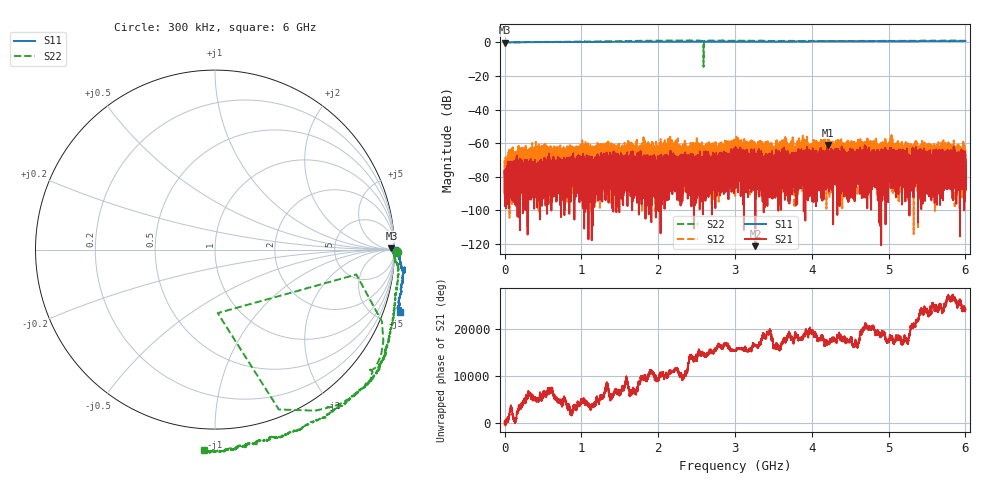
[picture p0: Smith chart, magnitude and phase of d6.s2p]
!Agilent Technologies,N5230C,SG49000117,A.08.50.07
!Agilent N5230C: A.08.50.07
!Date: Friday, May 17, 2024 03:39:48
!Correction: S11(Full 2 Port(1,2))
!S21(Full 2 Port(1,2))
!S12(Full 2 Port(1,2))
!S22(Full 2 Port(1,2))
!S2P File: Measurements: S11, S21, S12, S22:
# Hz S  MA  R 50
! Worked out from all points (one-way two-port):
!   20001 points, 300 kHz to 6 GHz, reference 50 ohm
!   highest |S21| = -61.06 dB at 4.207 GHz (marker M1); lowest = -121.3 dB at 3.266 GHz (marker M2)
!   lowest |S11| = -0.1 dB at 600 kHz (marker M3), VSWR 118.60, Z = 5.2e+03 + j1.95e+03 ohm
!   |S11| at or under -10 dB: nowhere
!   |S22| runs from -14.5 to 1.1 dB; largest |S21 - S12| = 0.0017
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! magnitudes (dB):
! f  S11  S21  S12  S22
! 300 kHz  0.1  -89.4  -70.9  0.1
! 600 kHz  -0.1  -84.7  -76.5  -0.3
! 180.9 MHz  0.1  -73.1  -71.7  0.1
! 1 GHz  0.3  -83.5  -67.1  0.4
! 1.624 GHz  0.4  -68.2  -85.1  0.8
! 2 GHz  0.5  -81.5  -82.7  1.0
! 2.176 GHz  0.5  -70.5  -67.0  1.1
! 2.775 GHz  0.5  -72.9  -65.4  1.0
! 3 GHz  0.5  -66.3  -59.1  1.0
! 3.065 GHz  0.5  -65.9  -62.0  1.0
! 3.124 GHz  0.5  -78.9  -63.3  1.0
! 3.266 GHz  0.5  -121.3  -66.0  0.9
! 3.489 GHz  0.5  -79.5  -70.0  0.8
! 3.605 GHz  0.5  -71.3  -66.8  0.9
! 4 GHz  0.5  -76.1  -64.8  0.9
! 4.207 GHz  0.6  -61.1  -65.1  0.8
! 4.454 GHz  0.7  -76.0  -72.6  0.8
! 5 GHz  0.7  -66.1  -70.4  0.9
! 5.27 GHz  0.7  -79.9  -65.2  1.0
! 5.333 GHz  0.7  -71.7  -67.9  1.0
! 5.61 GHz  0.7  -79.9  -72.6  1.0
! 6 GHz  0.7  -73.3  -69.8  0.9
